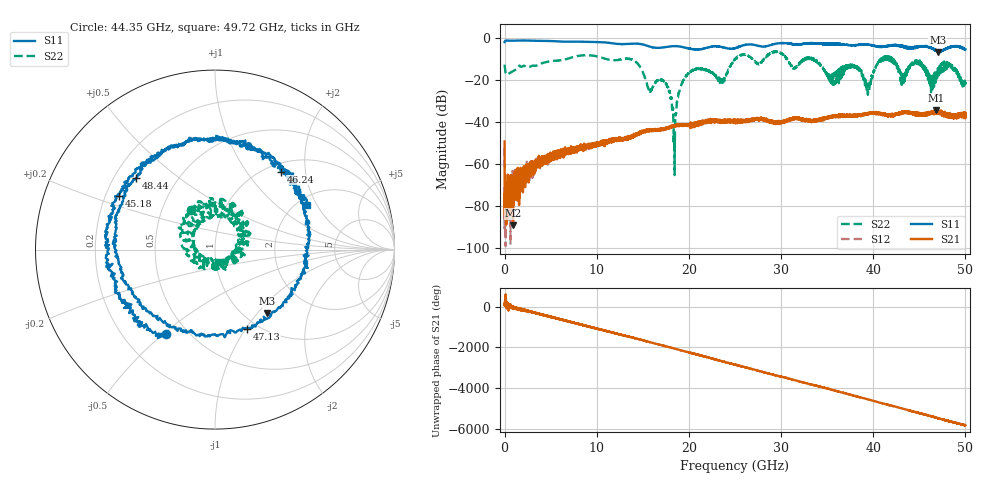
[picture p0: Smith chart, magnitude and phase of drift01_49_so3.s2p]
!Created with skrf (http://scikit-rf.org).
# Hz S RI R 50.0
!freq ReS11 ImS11 ReS21 ImS21 ReS12 ImS12 ReS22 ImS22
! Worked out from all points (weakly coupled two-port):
!   10001 points, 300 kHz to 50 GHz, reference 50 ohm
!   highest |S21| = -34.50 dB at 46.79 GHz (marker M1); lowest = -89.0 dB at 920.3 MHz (marker M2)
!   lowest |S11| = -6.8 dB at 47.01 GHz (marker M3), VSWR 2.68, Z = 62.6 - j56.1 ohm
!   |S11| at or under -10 dB: nowhere
!   |S22| runs from -65.3 to -6.6 dB; largest |S21 - S12| = 0.0039
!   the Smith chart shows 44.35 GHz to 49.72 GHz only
!   S11 on the Smith chart (normalised r, x): 44.35 GHz: 0.38, -0.51; 45.18 GHz: 0.26, +0.25; 46.24 GHz: 1.15, +1.47; 47.13 GHz: 0.89, -1.02; 48.44 GHz: 0.29, +0.36; 49.72 GHz: 2.28, +1.66
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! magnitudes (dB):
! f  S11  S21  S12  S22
! 300 kHz  -2.1  -49.3  -52.1  -12.9
! 260.3 MHz  -1.4  -77.3  -85.6  -17.5
! 920.3 MHz  -1.5  -89.0  -71.0  -15.9
! 8.335 GHz  -2.0  -53.1  -52.6  -8.5
! 16.67 GHz  -4.9  -43.9  -43.9  -20.0
! 17.73 GHz  -4.4  -43.3  -42.8  -23.5
! 18.42 GHz  -4.1  -41.8  -41.8  -48.3
! 19.9 GHz  -5.1  -41.2  -41.4  -17.2
! 23.59 GHz  -4.5  -39.4  -39.3  -19.9
! 25 GHz  -5.0  -39.6  -40.2  -10.4
! 33.34 GHz  -2.6  -39.8  -39.5  -9.9
! 39.35 GHz  -3.3  -35.9  -36.1  -22.2
! 41.67 GHz  -3.9  -36.8  -37.0  -9.5
! 44.35 GHz  -5.3  -36.4  -35.9  -11.9
! 45.18 GHz  -4.3  -36.2  -36.9  -12.4
! 46.24 GHz  -4.9  -36.2  -35.9  -20.4
! 46.79 GHz  -6.0  -34.5  -35.0  -19.0
! 47.01 GHz  -6.8  -34.6  -34.9  -14.7
! 47.13 GHz  -6.4  -35.3  -35.6  -16.4
! 48.44 GHz  -4.5  -37.2  -37.6  -14.5
! 49.72 GHz  -4.9  -36.8  -36.2  -22.9
! 50 GHz  -5.6  -36.8  -37.0  -22.0
